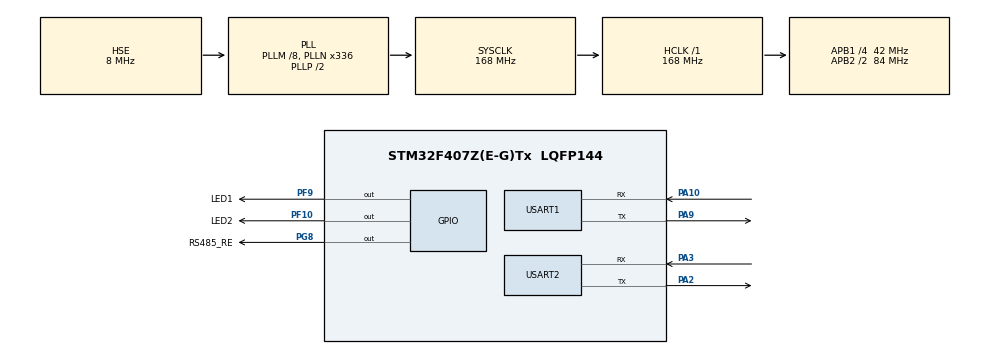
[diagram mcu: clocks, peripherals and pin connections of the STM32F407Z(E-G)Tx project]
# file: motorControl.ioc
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Mcu.Family=STM32F4
RCC.PLLSourceVirtual=RCC_PLLSOURCE_HSE
PH0-OSC_IN.Signal=RCC_OSC_IN
RCC.CortexFreq_Value=168000000
PA10.Mode=Asynchronous
PG8.Signal=GPIO_Output
RCC.APB1CLKDivider=RCC_HCLK_DIV4
RCC.SYSCLKSource=RCC_SYSCLKSOURCE_PLLCLK
ProjectManager.StackSize=0x400
PG8.GPIO_Label=RS485_RE
PA13.Signal=SYS_JTMS-SWDIO
PA3.Mode=Asynchronous
PA9.Mode=Asynchronous
ProjectManager.TargetToolchain=MDK-ARM V5
RCC.HCLKFreq_Value=168000000
RCC.APB2TimFreq_Value=168000000
PA9.Signal=USART1_TX
PF9.GPIO_Label=LED1
RCC.LSE_VALUE=32768
PF10.GPIO_Label=LED2
RCC.AHBFreq_Value=168000000
PH0-OSC_IN.Mode=HSE-External-Oscillator
RCC.HSE_VALUE=8000000
board=custom
RCC.VCOOutputFreq_Value=336000000
RCC.APB2Freq_Value=84000000
VP_TIM2_VS_ClockSourceINT.Mode=Internal
PA14.Mode=Serial_Wire
PF10.Signal=GPIO_Output
NVIC.TIM2_IRQn=true\:0\:0\:false\:false\:true\:true\:true
PH1-OSC_OUT.Signal=RCC_OSC_OUT
TIM2.Period=999
PA13.Mode=Serial_Wire
Mcu.Name=STM32F407Z(E-G)Tx
PA2.Signal=USART2_TX
PH1-OSC_OUT.Mode=HSE-External-Oscillator
RCC.48MHZClocksFreq_Value=84000000
RCC.SYSCLKFreq_VALUE=168000000
Mcu.Package=LQFP144
TIM2.Prescaler=8399
USART2.VirtualMode=VM_ASYNC
RCC.EnbaleCSS=true
USART1.VirtualMode=VM_ASYNC
PA10.Signal=USART1_RX
PA14.Signal=SYS_JTCK-SWCLK
ProjectManager.HeapSize=0x200
PF9.Signal=GPIO_Output
RCC.HSI_VALUE=16000000
NVIC.PriorityGroup=NVIC_PRIORITYGROUP_4
RCC.APB2CLKDivider=RCC_HCLK_DIV2
RCC.PLLM=8
RCC.PLLN=336
RCC.APB1TimFreq_Value=84000000
PA2.Mode=Asynchronous
RCC.APB1Freq_Value=42000000
PA3.Signal=USART2_RX

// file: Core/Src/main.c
/* USER CODE BEGIN Header */
/**
  ******************************************************************************
  * @file           : main.c
  * @brief          : Main program body
  ******************************************************************************
  * @attention
  *
  * <h2><center>&copy; Copyright (c) 2021 STMicroelectronics.
  * All rights reserved.</center></h2>
  *
  * This software component is licensed by ST under BSD 3-Clause license,
  * the "License"; You may not use this file except in compliance with the
  * License. You may obtain a copy of the License at:
  *                        opensource.org/licenses/BSD-3-Clause
  *
  ******************************************************************************
  */
/* USER CODE END Header */
#include "main.h"
#include "tim.h"
#include "usart.h"
#include "gpio.h"

/* USER CODE BEGIN Includes */
#include "string.h"
/* USER CODE END Includes */

/* USER CODE BEGIN PV */
//给ELMO驱动器发送的命令：应该先发送一个分号，告诉驱动器接下来是新的命令。修改UM时，一定要保证UM=0；
//char RS485_command[] =";UM=2;MO=1;JV=80000;BG;";
//char RS485_command2[] ="UM=2;MO=1;JV=-40000;BG;";
//char RS485_command2[] =";MO=1;JV=-80000;BG;";
//char RS485_command3[] =";MO=0;";
char RS485_command1[] =";MO=0;UM=5;MO=1;";
char RS485_command2[] =";PR=10000;SP=100000;AC=100000;DC=100000;SD=100000;BG;";
char RS485_command3[] =";MO=0;";
char RS485_command4[] =";PR=-10000;SP=100000;AC=100000;DC=100000;SD=100000;BG;";
volatile uint16_t cnt_timer2 = 0;
volatile int16_t T = 10;  //控制周期，单位：秒
volatile int flag_ChangeDirection_last = 0;
volatile int flag_ChangeDirection_now = 0;
#define RXBUFFERSIZE  256     //最大接收字节数
char RxBuffer[RXBUFFERSIZE];   //接收数据
uint8_t aRxBuffer;			//接收中断缓冲
uint8_t Uart1_Rx_Cnt = 0;		//接收缓冲计数

/* USER CODE END PV */

void SystemClock_Config(void);
/* USER CODE BEGIN PFP */
void sendCommand_ELMO(char *RS485_command);
/* USER CODE END PFP */

/* USER CODE BEGIN 0 */

//通过485接口向驱动器发送命令
void sendCommand_ELMO(char *RS485_command)
{
	 int N;
	 N = strlen(RS485_command);
		for (int i = 0;i <= N;i = i + 1)
	{
		    HAL_GPIO_WritePin(RS485_RE_GPIO_Port, RS485_RE_Pin, GPIO_PIN_SET);
	      HAL_UART_Transmit(&huart2, (uint8_t *)RS485_command + i, 1, 1000);
        HAL_GPIO_WritePin(RS485_RE_GPIO_Port, RS485_RE_Pin, GPIO_PIN_RESET);
        HAL_Delay(1);
	}
}

/* USER CODE END 0 */

int main(void)
{

  /* MCU Configuration--------------------------------------------------------*/

  /* Reset of all peripherals, Initializes the Flash interface and the Systick. */
  HAL_Init();

  /* Configure the system clock */
  SystemClock_Config();

  /* Initialize all configured peripherals */
  MX_GPIO_Init();
  MX_TIM2_Init();
  MX_USART1_UART_Init();
  MX_USART2_UART_Init();
  /* USER CODE BEGIN 2 */
	sendCommand_ELMO(RS485_command1);

	HAL_Delay(2000);

	sendCommand_ELMO(RS485_command2);

	HAL_Delay(2000);

	sendCommand_ELMO(RS485_command3);

  HAL_TIM_Base_Start_IT(&htim2); //开启定时器2的中断
	HAL_UART_Receive_IT(&huart1, (uint8_t *)&aRxBuffer, 1);
	HAL_Delay(10);

  /* USER CODE END 2 */

  /* Infinite loop */
  while (1)
  {

    /* USER CODE BEGIN 3 */

				HAL_GPIO_TogglePin(LED1_GPIO_Port,LED1_Pin);
			 if(flag_ChangeDirection_last == 0 && flag_ChangeDirection_now == 1)
			{
				sendCommand_ELMO(RS485_command2); //正转
				flag_ChangeDirection_last = 1;
			}
			else if (flag_ChangeDirection_last == 1 && flag_ChangeDirection_now == 0)
			{
				sendCommand_ELMO(RS485_command4); //反转
				flag_ChangeDirection_last = 0;
			}

  }
  /* USER CODE END 3 */
}

void SystemClock_Config(void)
{
  RCC_OscInitTypeDef RCC_OscInitStruct = {0};
  RCC_ClkInitTypeDef RCC_ClkInitStruct = {0};

  /** Configure the main internal regulator output voltage
  */
  __HAL_RCC_PWR_CLK_ENABLE();
  __HAL_PWR_VOLTAGESCALING_CONFIG(PWR_REGULATOR_VOLTAGE_SCALE1);
  /** Initializes the RCC Oscillators according to the specified parameters
  * in the RCC_OscInitTypeDef structure.
  */
  RCC_OscInitStruct.OscillatorType = RCC_OSCILLATORTYPE_HSE;
  RCC_OscInitStruct.HSEState = RCC_HSE_ON;
  RCC_OscInitStruct.PLL.PLLState = RCC_PLL_ON;
  RCC_OscInitStruct.PLL.PLLSource = RCC_PLLSOURCE_HSE;
  RCC_OscInitStruct.PLL.PLLM = 8;
  RCC_OscInitStruct.PLL.PLLN = 336;
  RCC_OscInitStruct.PLL.PLLP = RCC_PLLP_DIV2;
  RCC_OscInitStruct.PLL.PLLQ = 4;
  if (HAL_RCC_OscConfig(&RCC_OscInitStruct) != HAL_OK)
  {
    Error_Handler();
  }
  /** Initializes the CPU, AHB and APB buses clocks
  */
  RCC_ClkInitStruct.ClockType = RCC_CLOCKTYPE_HCLK|RCC_CLOCKTYPE_SYSCLK
                              |RCC_CLOCKTYPE_PCLK1|RCC_CLOCKTYPE_PCLK2;
  RCC_ClkInitStruct.SYSCLKSource = RCC_SYSCLKSOURCE_PLLCLK;
  RCC_ClkInitStruct.AHBCLKDivider = RCC_SYSCLK_DIV1;
  RCC_ClkInitStruct.APB1CLKDivider = RCC_HCLK_DIV4;
  RCC_ClkInitStruct.APB2CLKDivider = RCC_HCLK_DIV2;

  if (HAL_RCC_ClockConfig(&RCC_ClkInitStruct, FLASH_LATENCY_5) != HAL_OK)
  {
    Error_Handler();
  }
  /** Enables the Clock Security System
  */
  HAL_RCC_EnableCSS();
}

/* USER CODE BEGIN 4 */

//定时器中断回调函数  该函数每0.1秒调用1次
void HAL_TIM_PeriodElapsedCallback(TIM_HandleTypeDef *htim)
{
    if (htim == (&htim2))
    {
      //HAL_GPIO_TogglePin(LED2_GPIO_Port,LED2_Pin);
			cnt_timer2 = cnt_timer2 + 1;

			if(cnt_timer2 == T*5)
			{
				flag_ChangeDirection_now = 1; //正转
			}
			else if (cnt_timer2 == T*10)
			{
				cnt_timer2 = 0;
				flag_ChangeDirection_now = 0;//反转
			}
    }
}

//串口1的中断回调函数
void HAL_UART_RxCpltCallback(UART_HandleTypeDef *huart)
{
  /* Prevent unused argument(s) compilation warning */
  UNUSED(huart);
  /* NOTE: This function Should not be modified, when the callback is needed,
           the HAL_UART_TxCpltCallback could be implemented in the user file
   */

	if(Uart1_Rx_Cnt >= 255)  //溢出判断
	{
		Uart1_Rx_Cnt = 0;
		memset(RxBuffer,0x00,sizeof(RxBuffer));
		HAL_UART_Transmit(&huart1, (uint8_t *)"数据溢出", 10,0xFFFF);

	}
	else
	{
		RxBuffer[Uart1_Rx_Cnt++] = aRxBuffer;   //接收数据转存

		if((RxBuffer[Uart1_Rx_Cnt-1] == 0x0A)&&(RxBuffer[Uart1_Rx_Cnt-2] == 0x0D)) //判断结束位
		{
//			HAL_UART_Transmit(&huart1, (uint8_t *)&RxBuffer, Uart1_Rx_Cnt,0xFFFF); //将收到的信息发送出去
//            while(HAL_UART_GetState(&huart1) == HAL_UART_STATE_BUSY_TX);//检测UART发送结束
			Uart1_Rx_Cnt = 0;
			memset(RxBuffer,0x00,sizeof(RxBuffer)); //清空数组
		}
	}

	HAL_UART_Receive_IT(&huart1, (uint8_t *)&aRxBuffer, 1);   //再开启接收中断
}

/* USER CODE END 4 */

void Error_Handler(void)
{
  __disable_irq();
  while (1)
  {
  }
}

/************************ (C) COPYRIGHT STMicroelectronics *****END OF FILE****/
